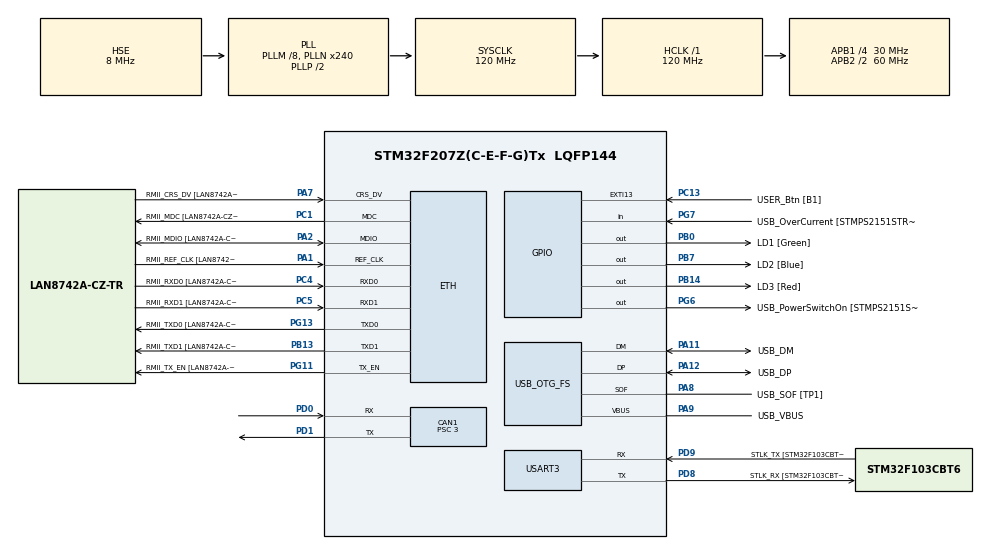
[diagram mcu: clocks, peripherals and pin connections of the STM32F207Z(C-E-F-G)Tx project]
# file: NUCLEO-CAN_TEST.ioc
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CAN1.BS1=CAN_BS1_16TQ
CAN1.BS2=CAN_BS2_3TQ
CAN1.CalculateBaudRate=500000
CAN1.CalculateTimeBit=2000
CAN1.CalculateTimeQuantum=100.0
CAN1.NART=ENABLE
CAN1.Prescaler=3
ETH.MediaInterface=ETH_MEDIA_INTERFACE_RMII
ETH.PHY_Name=LAN8742A_PHY_ADDRESS
ETH.PHY_Value=0
ETH.PhyAddress=0
Mcu.Family=STM32F2
Mcu.Name=STM32F207Z(C-E-F-G)Tx
Mcu.Package=LQFP144
NVIC.PriorityGroup=NVIC_PRIORITYGROUP_4
PA1.GPIO_Label=RMII_REF_CLK [LAN8742A-CZ-TR_REFCLK0]
PA1.Mode=RMII
PA1.Signal=ETH_REF_CLK
PA10.GPIO_Label=USB_ID
PA10.Signal=USB_OTG_FS_ID
PA11.GPIO_Label=USB_DM
PA11.Mode=Device_Only
PA11.Signal=USB_OTG_FS_DM
PA12.GPIO_Label=USB_DP
PA12.Mode=Device_Only
PA12.Signal=USB_OTG_FS_DP
PA13.GPIO_Label=TMS
PA13.Mode=Serial_Wire
PA13.Signal=SYS_JTMS-SWDIO
PA14.GPIO_Label=TCK
PA14.Mode=Serial_Wire
PA14.Signal=SYS_JTCK-SWCLK
PA2.GPIO_Label=RMII_MDIO [LAN8742A-CZ-TR_MDIO]
PA2.Mode=RMII
PA2.Signal=ETH_MDIO
PA7.GPIO_Label=RMII_CRS_DV [LAN8742A-CZ-TR_CRS_DV]
PA7.Mode=RMII
PA7.Signal=ETH_CRS_DV
PA8.GPIO_Label=USB_SOF [TP1]
PA8.Mode=Activate_SOF_FS
PA8.Signal=USB_OTG_FS_SOF
PA9.GPIO_Label=USB_VBUS
PA9.Mode=Activate_VBUS
PA9.Signal=USB_OTG_FS_VBUS
PB0.GPIO_Label=LD1 [Green]
PB0.Signal=GPIO_Output
PB13.GPIO_Label=RMII_TXD1 [LAN8742A-CZ-TR_TXD1]
PB13.Mode=RMII
PB13.Signal=ETH_TXD1
PB14.GPIO_Label=LD3 [Red]
PB14.Signal=GPIO_Output
PB3.GPIO_Label=SWO
PB3.Signal=SYS_JTDO-SWO
PB7.GPIO_Label=LD2 [Blue]
PB7.Signal=GPIO_Output
PC1.GPIO_Label=RMII_MDC [LAN8742A-CZ-TR_MDC]
PC1.Mode=RMII
PC1.Signal=ETH_MDC
PC13.GPIO_Label=USER_Btn [B1]
PC13.Signal=GPXTI13
PC14-OSC32_IN.Mode=LSE-External-Oscillator
PC14-OSC32_IN.Signal=RCC_OSC32_IN
PC15-OSC32_OUT.Mode=LSE-External-Oscillator
PC15-OSC32_OUT.Signal=RCC_OSC32_OUT
PC4.GPIO_Label=RMII_RXD0 [LAN8742A-CZ-TR_RXD0]
PC4.Mode=RMII
PC4.Signal=ETH_RXD0
PC5.GPIO_Label=RMII_RXD1 [LAN8742A-CZ-TR_RXD1]
PC5.Mode=RMII
PC5.Signal=ETH_RXD1
PD0.Mode=CAN_Activate
PD0.Signal=CAN1_RX
PD1.Mode=CAN_Activate
PD1.Signal=CAN1_TX
PD8.GPIO_Label=STLK_RX [STM32F103CBT6_PA2]
PD8.Mode=Asynchronous
PD8.Signal=USART3_TX
PD9.GPIO_Label=STLK_TX [STM32F103CBT6_PA3]
PD9.Mode=Asynchronous
PD9.Signal=USART3_RX
PG11.GPIO_Label=RMII_TX_EN [LAN8742A-CZ-TR_TXEN]
PG11.Mode=RMII
PG11.Signal=ETH_TX_EN
PG13.GPIO_Label=RMII_TXD0 [LAN8742A-CZ-TR_TXD0]
PG13.Mode=RMII
PG13.Signal=ETH_TXD0
PG6.GPIO_Label=USB_PowerSwitchOn [STMPS2151STR_EN]
PG6.Signal=GPIO_Output
PG7.GPIO_Label=USB_OverCurrent [STMPS2151STR_FAULT]
PG7.Signal=GPIO_Input
PH0-OSC_IN.GPIO_Label=MCO [STM32F103CBT6_PA8]
PH0-OSC_IN.Mode=HSE-External-Oscillator
PH0-OSC_IN.Signal=RCC_OSC_IN
PH1-OSC_OUT.Mode=HSE-External-Oscillator
PH1-OSC_OUT.Signal=RCC_OSC_OUT
ProjectManager.HeapSize=0x200
ProjectManager.StackSize=0x400
ProjectManager.TargetToolchain=STM32CubeIDE
RCC.48MHZClocksFreq_Value=48000000
RCC.AHBFreq_Value=120000000
RCC.APB1CLKDivider=RCC_HCLK_DIV4
RCC.APB1Freq_Value=30000000
RCC.APB1TimFreq_Value=60000000
RCC.APB2CLKDivider=RCC_HCLK_DIV2
RCC.APB2Freq_Value=60000000
RCC.APB2TimFreq_Value=120000000
RCC.CortexFreq_Value=120000000
RCC.HCLKFreq_Value=120000000
RCC.HSE_VALUE=8000000
RCC.HSI_VALUE=16000000
RCC.PLLM=8
RCC.PLLMUL=RCC_PLL_MUL9
RCC.PLLN=240
RCC.PLLQ=5
RCC.PLLSourceVirtual=RCC_PLLSOURCE_HSE
RCC.PRESCALERUSB=RCC_USBCLKSOURCE_PLL_DIV1_5
RCC.SYSCLKFreq_VALUE=120000000
RCC.SYSCLKSource=RCC_SYSCLKSOURCE_PLLCLK
RCC.SYSCLKSourceVirtual=RCC_SYSCLKSOURCE_PLLCLK
RCC.USBFreq_Value=48000000
RCC.VCOOutputFreq_Value=240000000
USART3.VirtualMode=VM_ASYNC
USB_OTG_FS.VirtualMode=Device_Only
board=NUCLEO-F207ZG

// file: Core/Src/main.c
/* USER CODE BEGIN Header */
/**
  ******************************************************************************
  * @file           : main.c
  * @brief          : Main program body
  ******************************************************************************
  * @attention
  *
  * Copyright (c) 2026 STMicroelectronics.
  * All rights reserved.
  *
  * This software is licensed under terms that can be found in the LICENSE file
  * in the root directory of this software component.
  * If no LICENSE file comes with this software, it is provided AS-IS.
  *
  ******************************************************************************
  */
/* USER CODE END Header */
#include "main.h"

CAN_HandleTypeDef hcan1;

ETH_HandleTypeDef heth;

UART_HandleTypeDef huart3;

PCD_HandleTypeDef hpcd_USB_OTG_FS;

/* USER CODE BEGIN PV */

CAN_TxHeaderTypeDef TxHeader;
uint32_t TxMailbox;
uint8_t TxData[8];

/* USER CODE END PV */

void SystemClock_Config(void);
static void MX_GPIO_Init(void);
static void MX_ETH_Init(void);
static void MX_USART3_UART_Init(void);
static void MX_USB_OTG_FS_PCD_Init(void);
static void MX_CAN1_Init(void);

/* USER CODE BEGIN 0 */
#include <stdio.h>

int __io_putchar(int ch)
{
    HAL_UART_Transmit(&huart3, (uint8_t *)&ch, 1, HAL_MAX_DELAY);
    return ch;
}
/* USER CODE END 0 */

int main(void)
{

  /* MCU Configuration--------------------------------------------------------*/

  /* Reset of all peripherals, Initializes the Flash interface and the Systick. */
  HAL_Init();

  /* Configure the system clock */
  SystemClock_Config();

  /* Initialize all configured peripherals */
  MX_GPIO_Init();
  MX_ETH_Init();
  MX_USART3_UART_Init();
  MX_USB_OTG_FS_PCD_Init();
  MX_CAN1_Init();
  /* USER CODE BEGIN 2 */

  // Enable TX mailbox empty interrupt
  HAL_CAN_ActivateNotification(&hcan1, CAN_IT_TX_MAILBOX_EMPTY);
  // Configure CAN Filter
  CAN_FilterTypeDef sFilterConfig;

  sFilterConfig.FilterBank = 0;
  sFilterConfig.FilterMode = CAN_FILTERMODE_IDMASK;
  sFilterConfig.FilterScale = CAN_FILTERSCALE_32BIT;
  sFilterConfig.FilterIdHigh = 0x0000;
  sFilterConfig.FilterIdLow = 0x0000;
  sFilterConfig.FilterMaskIdHigh = 0x0000;
  sFilterConfig.FilterMaskIdLow = 0x0000;
  sFilterConfig.FilterFIFOAssignment = CAN_FILTER_FIFO0;
  sFilterConfig.FilterActivation = ENABLE;
  sFilterConfig.SlaveStartFilterBank = 14;

  HAL_CAN_ConfigFilter(&hcan1, &sFilterConfig);

  // Start CAN
  HAL_CAN_Start(&hcan1);
  printf("=== Nucleo CAN Transmitter Ready ===\r\n");
   printf("Baud: 500KBPS | CAN ID: 0x123 | DLC: 5\r\n");
   printf("Sending 'HELLO' every 1 second...\r\n\r\n");

  // Configure TX Header
  TxHeader.StdId = 0x123;
  TxHeader.ExtId = 0x00;
  TxHeader.IDE = CAN_ID_STD;
  TxHeader.RTR = CAN_RTR_DATA;
  TxHeader.DLC = 5;
  TxHeader.TransmitGlobalTime = DISABLE;

  /* USER CODE END 2 */

  /* Infinite loop */
  /* USER CODE BEGIN WHILE */
  while (1)
  {

	  TxData[0] = 'H';
	  TxData[1] = 'E';
	  TxData[2] = 'L';
	  TxData[3] = 'L';
	  TxData[4] = 'O';

	  if (HAL_CAN_GetTxMailboxesFreeLevel(&hcan1) > 0)
	  {
	      //HAL_CAN_AddTxMessage(&hcan1, &TxHeader, TxData, &TxMailbox);
	      HAL_StatusTypeDef status = HAL_CAN_AddTxMessage(&hcan1, &TxHeader, TxData, &TxMailbox);
	      if (status == HAL_OK)
	                {
	                    printf("TX OK | ID: 0x%lX | Data: %c%c%c%c%c | Mailbox: %lu\r\n",
	                           TxHeader.StdId,
	                           TxData[0], TxData[1], TxData[2], TxData[3], TxData[4],
	                           TxMailbox);
	                }
	                else
	                {
	                    printf("TX FAILED! HAL Error: %d\r\n", status);
	                }
	  }
	  else
	        {
	            printf("No free mailbox available!\r\n");  // ADD HERE
	        }
	  HAL_Delay(1000);

    /* USER CODE END WHILE */

  }
}

void SystemClock_Config(void)
{
  RCC_OscInitTypeDef RCC_OscInitStruct = {0};
  RCC_ClkInitTypeDef RCC_ClkInitStruct = {0};

  /** Initializes the RCC Oscillators according to the specified parameters
  * in the RCC_OscInitTypeDef structure.
  */
  RCC_OscInitStruct.OscillatorType = RCC_OSCILLATORTYPE_HSE;
  RCC_OscInitStruct.HSEState = RCC_HSE_ON;
  RCC_OscInitStruct.PLL.PLLState = RCC_PLL_ON;
  RCC_OscInitStruct.PLL.PLLSource = RCC_PLLSOURCE_HSE;
  RCC_OscInitStruct.PLL.PLLM = 8;
  RCC_OscInitStruct.PLL.PLLN = 240;
  RCC_OscInitStruct.PLL.PLLP = RCC_PLLP_DIV2;
  RCC_OscInitStruct.PLL.PLLQ = 5;
  if (HAL_RCC_OscConfig(&RCC_OscInitStruct) != HAL_OK)
  {
    Error_Handler();
  }

  /** Initializes the CPU, AHB and APB buses clocks
  */
  RCC_ClkInitStruct.ClockType = RCC_CLOCKTYPE_HCLK|RCC_CLOCKTYPE_SYSCLK
                              |RCC_CLOCKTYPE_PCLK1|RCC_CLOCKTYPE_PCLK2;
  RCC_ClkInitStruct.SYSCLKSource = RCC_SYSCLKSOURCE_PLLCLK;
  RCC_ClkInitStruct.AHBCLKDivider = RCC_SYSCLK_DIV1;
  RCC_ClkInitStruct.APB1CLKDivider = RCC_HCLK_DIV4;
  RCC_ClkInitStruct.APB2CLKDivider = RCC_HCLK_DIV2;

  if (HAL_RCC_ClockConfig(&RCC_ClkInitStruct, FLASH_LATENCY_3) != HAL_OK)
  {
    Error_Handler();
  }
}

static void MX_CAN1_Init(void)
{

  hcan1.Instance = CAN1;
  hcan1.Init.Prescaler = 3;
  hcan1.Init.Mode = CAN_MODE_NORMAL;
  hcan1.Init.SyncJumpWidth = CAN_SJW_1TQ;
  hcan1.Init.TimeSeg1 = CAN_BS1_16TQ;
  hcan1.Init.TimeSeg2 = CAN_BS2_3TQ;
  hcan1.Init.TimeTriggeredMode = DISABLE;
  hcan1.Init.AutoBusOff = DISABLE;
  hcan1.Init.AutoWakeUp = DISABLE;
  hcan1.Init.AutoRetransmission = ENABLE;
  hcan1.Init.ReceiveFifoLocked = DISABLE;
  hcan1.Init.TransmitFifoPriority = DISABLE;
  if (HAL_CAN_Init(&hcan1) != HAL_OK)
  {
    Error_Handler();
  }

}

static void MX_ETH_Init(void)
{

   static uint8_t MACAddr[6];

  heth.Instance = ETH;
  heth.Init.AutoNegotiation = ETH_AUTONEGOTIATION_ENABLE;
  heth.Init.Speed = ETH_SPEED_100M;
  heth.Init.DuplexMode = ETH_MODE_FULLDUPLEX;
  heth.Init.PhyAddress = LAN8742A_PHY_ADDRESS;
  MACAddr[0] = 0x00;
  MACAddr[1] = 0x80;
  MACAddr[2] = 0xE1;
  MACAddr[3] = 0x00;
  MACAddr[4] = 0x00;
  MACAddr[5] = 0x00;
  heth.Init.MACAddr = &MACAddr[0];
  heth.Init.RxMode = ETH_RXPOLLING_MODE;
  heth.Init.ChecksumMode = ETH_CHECKSUM_BY_HARDWARE;
  heth.Init.MediaInterface = ETH_MEDIA_INTERFACE_RMII;

  if (HAL_ETH_Init(&heth) != HAL_OK)
  {
    Error_Handler();
  }

}

static void MX_USART3_UART_Init(void)
{

  huart3.Instance = USART3;
  huart3.Init.BaudRate = 115200;
  huart3.Init.WordLength = UART_WORDLENGTH_8B;
  huart3.Init.StopBits = UART_STOPBITS_1;
  huart3.Init.Parity = UART_PARITY_NONE;
  huart3.Init.Mode = UART_MODE_TX_RX;
  huart3.Init.HwFlowCtl = UART_HWCONTROL_NONE;
  huart3.Init.OverSampling = UART_OVERSAMPLING_16;
  if (HAL_UART_Init(&huart3) != HAL_OK)
  {
    Error_Handler();
  }

}

static void MX_USB_OTG_FS_PCD_Init(void)
{

  hpcd_USB_OTG_FS.Instance = USB_OTG_FS;
  hpcd_USB_OTG_FS.Init.dev_endpoints = 4;
  hpcd_USB_OTG_FS.Init.speed = PCD_SPEED_FULL;
  hpcd_USB_OTG_FS.Init.dma_enable = DISABLE;
  hpcd_USB_OTG_FS.Init.phy_itface = PCD_PHY_EMBEDDED;
  hpcd_USB_OTG_FS.Init.Sof_enable = ENABLE;
  hpcd_USB_OTG_FS.Init.low_power_enable = DISABLE;
  hpcd_USB_OTG_FS.Init.vbus_sensing_enable = ENABLE;
  hpcd_USB_OTG_FS.Init.use_dedicated_ep1 = DISABLE;
  if (HAL_PCD_Init(&hpcd_USB_OTG_FS) != HAL_OK)
  {
    Error_Handler();
  }

}

static void MX_GPIO_Init(void)
{
  GPIO_InitTypeDef GPIO_InitStruct = {0};

  /* GPIO Ports Clock Enable */
  __HAL_RCC_GPIOC_CLK_ENABLE();
  __HAL_RCC_GPIOH_CLK_ENABLE();
  __HAL_RCC_GPIOA_CLK_ENABLE();
  __HAL_RCC_GPIOB_CLK_ENABLE();
  __HAL_RCC_GPIOD_CLK_ENABLE();
  __HAL_RCC_GPIOG_CLK_ENABLE();

  /*Configure GPIO pin Output Level */
  HAL_GPIO_WritePin(GPIOB, LD1_Pin|LD3_Pin|LD2_Pin, GPIO_PIN_RESET);

  /*Configure GPIO pin Output Level */
  HAL_GPIO_WritePin(USB_PowerSwitchOn_GPIO_Port, USB_PowerSwitchOn_Pin, GPIO_PIN_RESET);

  /*Configure GPIO pin : USER_Btn_Pin */
  GPIO_InitStruct.Pin = USER_Btn_Pin;
  GPIO_InitStruct.Mode = GPIO_MODE_IT_RISING;
  GPIO_InitStruct.Pull = GPIO_NOPULL;
  HAL_GPIO_Init(USER_Btn_GPIO_Port, &GPIO_InitStruct);

  /*Configure GPIO pins : LD1_Pin LD3_Pin LD2_Pin */
  GPIO_InitStruct.Pin = LD1_Pin|LD3_Pin|LD2_Pin;
  GPIO_InitStruct.Mode = GPIO_MODE_OUTPUT_PP;
  GPIO_InitStruct.Pull = GPIO_NOPULL;
  GPIO_InitStruct.Speed = GPIO_SPEED_FREQ_LOW;
  HAL_GPIO_Init(GPIOB, &GPIO_InitStruct);

  /*Configure GPIO pin : USB_PowerSwitchOn_Pin */
  GPIO_InitStruct.Pin = USB_PowerSwitchOn_Pin;
  GPIO_InitStruct.Mode = GPIO_MODE_OUTPUT_PP;
  GPIO_InitStruct.Pull = GPIO_NOPULL;
  GPIO_InitStruct.Speed = GPIO_SPEED_FREQ_LOW;
  HAL_GPIO_Init(USB_PowerSwitchOn_GPIO_Port, &GPIO_InitStruct);

  /*Configure GPIO pin : USB_OverCurrent_Pin */
  GPIO_InitStruct.Pin = USB_OverCurrent_Pin;
  GPIO_InitStruct.Mode = GPIO_MODE_INPUT;
  GPIO_InitStruct.Pull = GPIO_NOPULL;
  HAL_GPIO_Init(USB_OverCurrent_GPIO_Port, &GPIO_InitStruct);

}

/* USER CODE BEGIN 4 */
void HAL_CAN_TxMailbox0CompleteCallback(CAN_HandleTypeDef *hcan)
{
    HAL_GPIO_TogglePin(GPIOB, LD1_Pin);  // Toggle LED when TX successful
    printf("TX Complete! Message sent successfully on Mailbox 0\r\n");
}
/* USER CODE END 4 */

void Error_Handler(void)
{
  /* USER CODE BEGIN Error_Handler_Debug */
  /* User can add his own implementation to report the HAL error return state */
	 printf("ERROR HANDLER TRIGGERED!\r\n");
  __disable_irq();
  while (1)
  {
  }
  /* USER CODE END Error_Handler_Debug */
}
